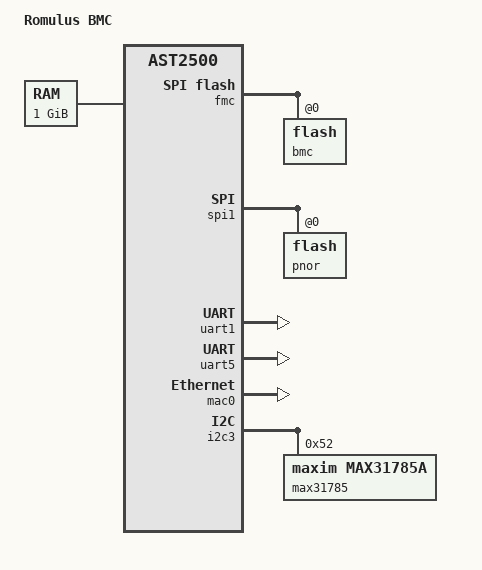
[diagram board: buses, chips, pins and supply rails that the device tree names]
/dts-v1/;

#include "aspeed-g5.dtsi"

/ {
	model = "Romulus BMC";
	compatible = "ibm,romulus-bmc", "aspeed,ast2500";

	aliases {
		serial4 = &uart5;
	};

	chosen {
		stdout-path = &uart5;
		bootargs = "console=ttyS4,115200 earlyprintk";
	};

	memory {
		reg = <0x80000000 0x40000000>;
	};

	reserved-memory {
		#address-cells = <1>;
		#size-cells = <1>;
		ranges;

		vga_memory: framebuffer@bf000000 {
			no-map;
			reg = <0xbf000000 0x01000000>; /* 16M */
		};
	};
};

&fmc {
	status = "okay";
	flash@0 {
		status = "okay";
		m25p,fast-read;
		label = "bmc";
	};
};

&spi1 {
	status = "okay";
	pinctrl-names = "default";
	pinctrl-0 = <&pinctrl_spi1_default>;

	flash@0 {
		status = "okay";
		m25p,fast-read;
		label = "pnor";
	};
};

&uart1 {
	/* Rear RS-232 connector */
	status = "okay";

	pinctrl-names = "default";
	pinctrl-0 = <&pinctrl_txd1_default
			&pinctrl_rxd1_default
			&pinctrl_nrts1_default
			&pinctrl_ndtr1_default
			&pinctrl_ndsr1_default
			&pinctrl_ncts1_default
			&pinctrl_ndcd1_default
			&pinctrl_nri1_default>;
};

&uart5 {
	status = "okay";
};

&mac0 {
	status = "okay";

	use-ncsi;

	pinctrl-names = "default";
	pinctrl-0 = <&pinctrl_rmii1_default>;
};

&i2c3 {
	status = "okay";

	max31785@52 {
		compatible = "maxim,max31785a";
		reg = <0x52>;
		#address-cells = <1>;
		#size-cells = <0>;

		status = "okay";

		fan@0 {
			compatible = "pmbus-fan";
			reg = <0>;
			tach-pulses = <2>;
			maxim,fan-rotor-input = "tach";
			maxim,fan-pwm-freq = <25000>;
			maxim,fan-dual-tach;
			maxim,fan-no-watchdog;
			maxim,fan-no-fault-ramp;
			maxim,fan-ramp = <2>;
			maxim,fan-fault-pin-mon;
		};

		fan@1 {
			compatible = "pmbus-fan";
			reg = <1>;
			tach-pulses = <2>;
			maxim,fan-rotor-input = "tach";
			maxim,fan-pwm-freq = <25000>;
			maxim,fan-dual-tach;
			maxim,fan-no-watchdog;
			maxim,fan-no-fault-ramp;
			maxim,fan-ramp = <2>;
			maxim,fan-fault-pin-mon;
		};

		fan@2 {
			compatible = "pmbus-fan";
			reg = <2>;
			tach-pulses = <2>;
			maxim,fan-rotor-input = "tach";
			maxim,fan-pwm-freq = <25000>;
			maxim,fan-dual-tach;
			maxim,fan-no-watchdog;
			maxim,fan-no-fault-ramp;
			maxim,fan-ramp = <2>;
			maxim,fan-fault-pin-mon;
		};

		fan3: fan@3 {
			compatible = "pmbus-fan";
			reg = <3>;
			tach-pulses = <2>;
			maxim,fan-rotor-input = "tach";
			maxim,fan-pwm-freq = <25000>;
			maxim,fan-dual-tach;
			maxim,fan-no-watchdog;
			maxim,fan-no-fault-ramp;
			maxim,fan-ramp = <2>;
			maxim,fan-fault-pin-mon;
		};

		temp@6 {
			compatible = "pmbus-temperature";
			reg = <6>;
			maxim,tmp-offset = <0>;
			maxim,tmp-fans = <&fan3>;
		};
	};
};
